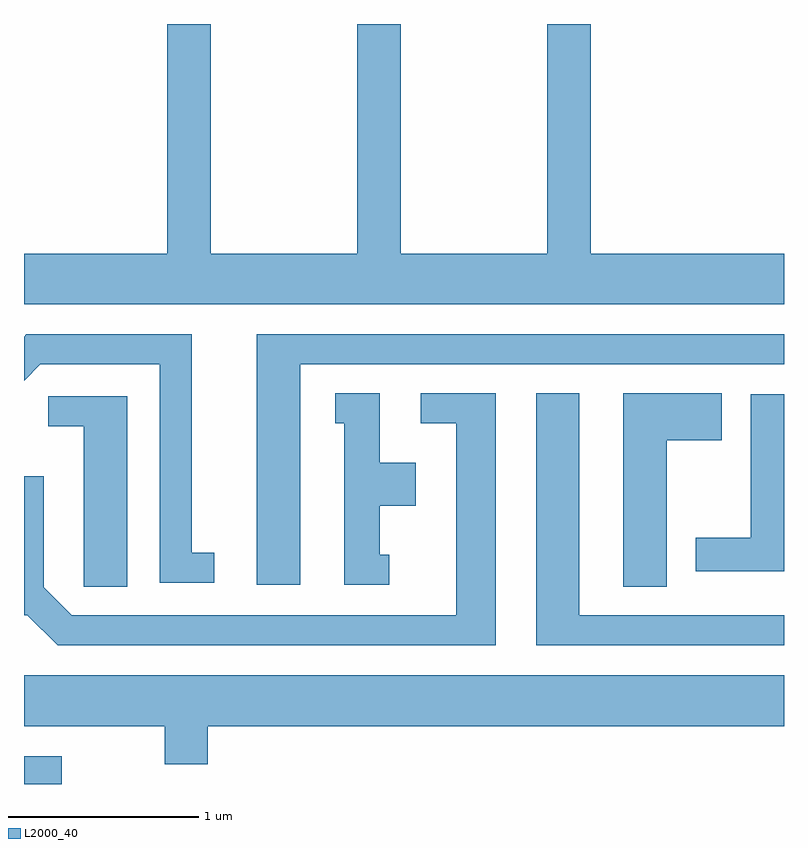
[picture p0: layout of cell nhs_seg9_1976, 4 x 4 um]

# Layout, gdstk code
import gdstk
lib = gdstk.Library(unit=1e-6, precision=1e-09)
def R(c, l, rs):  # rectangles x0, y0, x1, y1
    for r in rs: c.add(gdstk.rectangle(r[:2], r[2:], *l))
def P(c, l, *ps):  # polygons
    for p in ps: c.add(gdstk.Polygon(p, *l))
L2000_40 = (2000, 40)

nhs_seg9_1976 = lib.new_cell('nhs_seg9_1976')
R(nhs_seg9_1976, L2000_40, [(243.611,1960.432,243.809,1960.579)])
P(nhs_seg9_1976, L2000_40, [(247.611,1963.224),(246.594,1963.224),(246.594,1964.432),(246.366,1964.432),(246.366,1963.224),(245.594,1963.224),(245.594,1964.432),(245.366,1964.432),(245.366,1963.224),(244.594,1963.224),(244.594,1964.432),(244.366,1964.432),(244.366,1963.224),(243.611,1963.224),(243.611,1962.956),(247.611,1962.956)],
  [(245.064,1962.641),(247.611,1962.641),(247.611,1962.799),(244.836,1962.799),(244.836,1961.481),(245.064,1961.481)],
  [(244.613,1961.649),(244.494,1961.649),(244.494,1962.799),(243.624,1962.799),(243.611,1962.786),(243.611,1962.555),(243.697,1962.641),(244.326,1962.641),(244.326,1961.491),(244.613,1961.491)],
  [(245.533,1961.639),(245.484,1961.639),(245.484,1961.896),(245.674,1961.896),(245.674,1962.124),(245.484,1962.124),(245.484,1962.489),(245.248,1962.489),(245.248,1962.331),(245.296,1962.331),(245.296,1961.481),(245.533,1961.481)],
  [(246.094,1962.489),(245.698,1962.489),(245.698,1962.331),(245.886,1962.331),(245.886,1961.319),(243.862,1961.319),(243.714,1961.467),(243.714,1962.053),(243.611,1962.053),(243.611,1961.321),(243.629,1961.321),(243.789,1961.161),(246.094,1961.161)],
  [(247.611,1961.319),(246.534,1961.319),(246.534,1962.489),(246.306,1962.489),(246.306,1961.161),(247.611,1961.161)],
  [(246.994,1962.241),(247.284,1962.241),(247.284,1962.489),(246.766,1962.489),(246.766,1961.471),(246.994,1961.471)],
  [(247.611,1962.484),(247.436,1962.484),(247.436,1961.729),(247.146,1961.729),(247.146,1961.551),(247.611,1961.551)],
  [(244.154,1962.474),(243.738,1962.474),(243.738,1962.316),(243.926,1962.316),(243.926,1961.471),(244.154,1961.471)],
  [(244.579,1960.736),(247.611,1960.736),(247.611,1961.004),(243.611,1961.004),(243.611,1960.736),(244.351,1960.736),(244.351,1960.536),(244.579,1960.536)])

lib.write_gds('nhs_seg9_1976.gds')
